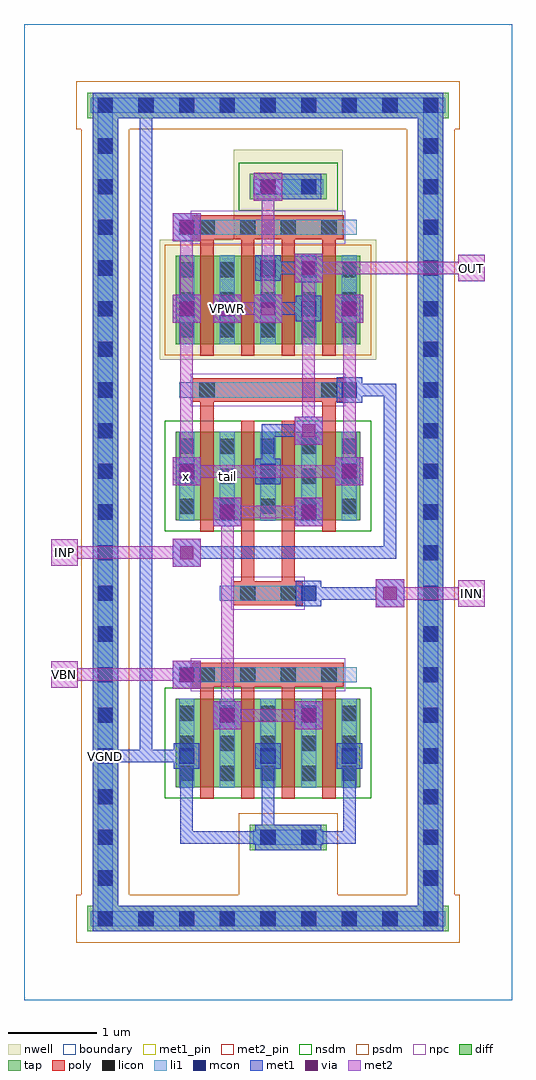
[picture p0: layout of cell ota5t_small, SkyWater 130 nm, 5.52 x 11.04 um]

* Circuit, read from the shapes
.subckt ota5t_small INN INP OUT VBN VGND VPWR tail x
XM1 tail VBN VGND VGND sky130_fd_pr__nfet_01v8 w=1 l=0.15 m=4
XM2 tail INP x VGND sky130_fd_pr__nfet_01v8 w=1 l=0.15 m=2
XM3 OUT INN tail VGND sky130_fd_pr__nfet_01v8 w=1 l=0.15 m=2
XM4 VPWR x x VPWR sky130_fd_pr__pfet_01v8 w=1 l=0.15 m=2
XM5 OUT x VPWR VPWR sky130_fd_pr__pfet_01v8 w=1 l=0.15 m=2
.ends

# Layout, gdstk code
import gdstk
lib = gdstk.Library(unit=1e-6, precision=1e-09)
def R(c, l, rs):  # rectangles x0, y0, x1, y1
    for r in rs: c.add(gdstk.rectangle(r[:2], r[2:], *l))
def A(c, l, x, y, w, h, nx, ny, dx, dy):  # array of equal rectangles
    R(c, l, [(x+i*dx, y+j*dy, x+i*dx+w, y+j*dy+h) for i in range(nx) for j in range(ny)])
nwell = (64, 20)
diff = (65, 20)
tap = (65, 44)
poly = (66, 20)
licon = (66, 44)
li1 = (67, 20)
mcon = (67, 44)
met1_pin = (68, 16)
met1 = (68, 20)
via = (68, 44)
met2_pin = (69, 16)
met2 = (69, 20)
nsdm = (93, 44)
psdm = (94, 20)
npc = (95, 20)
boundary = (235, 4)

ota5t_small = lib.new_cell('ota5t_small')
R(ota5t_small, nwell, [(1.535,7.24,3.985,8.6), (2.375,8.6,3.605,9.62)])
R(ota5t_small, diff, [(1.715,2.405,3.805,3.405), (1.715,5.425,3.805,6.425), (1.715,7.42,3.805,8.42)])
R(ota5t_small, tap, [(0.715,0.775,4.805,1.065), (0.775,0.775,1.065,10.265), (4.455,0.775,4.745,10.265), (2.555,1.695,3.425,1.985), (2.555,9.055,3.425,9.345), (0.715,9.975,4.805,10.265)])
A(ota5t_small, poly, 1.995, 2.275, 0.15, 1.405, 4, 1, 0.46, 0)
A(ota5t_small, poly, 1.995, 7.29, 0.15, 1.45, 4, 1, 0.46, 0)
R(ota5t_small, poly, [(1.905,3.545,3.615,3.815), (2.365,4.465,3.155,4.735), (2.455,4.6,2.605,6.555), (2.915,4.6,3.065,6.555), (1.995,5.295,2.145,6.9), (3.375,5.295,3.525,6.9), (1.905,6.765,3.615,7.035), (1.905,8.605,3.615,8.875)])
A(ota5t_small, licon, 0.835, 0.835, 0.17, 0.17, 9, 2, 0.46, 9.2)
A(ota5t_small, licon, 0.835, 1.295, 0.17, 0.17, 1, 19, 0, 0.46)
A(ota5t_small, licon, 4.515, 1.295, 0.17, 0.17, 1, 19, 0, 0.46)
A(ota5t_small, licon, 1.755, 2.48, 0.17, 0.17, 5, 3, 0.46, 0.34)
A(ota5t_small, licon, 1.985, 3.595, 0.17, 0.17, 4, 2, 0.46, 5.06)
A(ota5t_small, licon, 1.755, 5.5, 0.17, 0.17, 5, 3, 0.46, 0.34)
A(ota5t_small, licon, 1.755, 7.495, 0.17, 0.17, 5, 3, 0.46, 0.34)
R(ota5t_small, licon, [(2.675,1.755,2.845,1.925), (3.135,1.755,3.305,1.925), (2.445,4.515,2.615,4.685), (2.905,4.515,3.075,4.685), (1.985,6.815,2.155,6.985), (3.365,6.815,3.535,6.985), (2.675,9.115,2.845,9.285), (3.135,9.115,3.305,9.285)])
A(ota5t_small, li1, 1.755, 2.4, 0.17, 1.01, 5, 2, 0.46, 3.02)
A(ota5t_small, li1, 1.755, 7.415, 0.17, 1.01, 5, 1, 0.46, 0)
R(ota5t_small, li1, [(0.755,0.835,4.765,1.005), (0.835,0.835,1.005,10.205), (4.515,0.835,4.685,10.205), (2.595,1.755,3.385,1.925), (1.755,3.595,3.765,3.765), (2.215,4.515,3.305,4.685), (1.755,6.815,3.765,6.985), (1.755,8.655,3.765,8.825), (2.595,9.115,3.385,9.285), (0.755,10.035,4.765,10.205)])
A(ota5t_small, mcon, 0.835, 0.835, 0.17, 0.17, 9, 2, 0.46, 9.2)
A(ota5t_small, mcon, 0.835, 1.295, 0.17, 0.17, 1, 3, 0, 0.46)
A(ota5t_small, mcon, 4.515, 1.295, 0.17, 0.17, 1, 3, 0, 0.46)
A(ota5t_small, mcon, 3.135, 1.755, 0.17, 0.17, 1, 3, 0, 1.38)
A(ota5t_small, mcon, 0.835, 2.675, 0.17, 0.17, 5, 2, 0.92, 3.22)
A(ota5t_small, mcon, 0.835, 3.135, 0.17, 0.17, 1, 6, 0, 0.46)
A(ota5t_small, mcon, 2.215, 3.135, 0.17, 0.17, 1, 3, 0, 2.3)
A(ota5t_small, mcon, 4.515, 3.135, 0.17, 0.17, 1, 6, 0, 0.46)
A(ota5t_small, mcon, 0.835, 6.355, 0.17, 0.17, 1, 4, 0, 0.46)
A(ota5t_small, mcon, 4.515, 6.355, 0.17, 0.17, 1, 4, 0, 0.46)
A(ota5t_small, mcon, 0.835, 8.195, 0.17, 0.17, 3, 1, 1.84, 0)
A(ota5t_small, mcon, 0.835, 8.655, 0.17, 0.17, 1, 3, 0, 0.46)
A(ota5t_small, mcon, 4.515, 8.655, 0.17, 0.17, 1, 3, 0, 0.46)
R(ota5t_small, mcon, [(2.675,1.755,2.845,1.925), (1.755,3.595,1.925,3.765), (3.135,5.435,3.305,5.605), (3.595,6.815,3.765,6.985), (1.755,7.735,1.925,7.905), (3.135,7.735,3.305,7.905), (3.595,7.735,3.765,7.905), (1.755,8.655,1.925,8.825), (2.675,9.115,2.845,9.285), (3.135,9.115,3.305,9.285)])
R(ota5t_small, met1_pin, [(0.85,2.69,0.99,2.83), (2.155,7.675,2.445,7.965)])
A(ota5t_small, met1, 1.77, 1.77, 0.14, 1.06, 3, 1, 0.92, 0)
A(ota5t_small, met1, 1.695, 2.615, 0.29, 0.29, 3, 2, 0.92, 3.22)
A(ota5t_small, met1, 2.155, 3.075, 0.29, 0.29, 1, 3, 0, 2.3)
A(ota5t_small, met1, 1.68, 7.66, 0.32, 0.32, 3, 1, 0.46, 0)
R(ota5t_small, met1, [(0.775,0.775,4.745,1.065), (0.775,0.775,1.065,10.265), (4.455,0.775,4.745,10.265), (2.615,1.695,3.365,1.985), (1.77,1.77,2.83,1.91), (2.69,1.77,2.83,1.91), (2.69,1.77,3.75,1.91), (0.85,2.69,0.99,2.83), (0.85,2.69,1.91,2.83), (1.31,2.69,1.45,10.19), (2.14,3.06,2.46,3.38), (3.06,3.06,3.38,3.38), (3.075,3.075,3.365,3.365), (1.68,3.52,2,3.84), (1.695,3.535,1.985,3.825), (3.98,4.44,4.3,4.76), (3.075,4.455,3.365,4.745), (3.15,4.53,4.21,4.67), (1.68,4.9,2,5.22), (1.77,4.99,4.21,5.13), (4.07,4.99,4.21,6.97), (2.14,5.36,2.46,5.68), (3.06,5.36,3.38,5.68), (3.075,5.375,3.365,5.665), (1.68,5.82,2,6.14), (3.52,5.82,3.84,6.14), (2.69,5.91,2.83,6.51), (3.06,6.28,3.38,6.6), (2.69,6.37,3.29,6.51), (3.535,6.755,3.825,7.045), (3.61,6.83,4.21,6.97), (3.52,7.66,3.84,7.98), (1.695,7.675,1.985,7.965), (3.075,7.675,3.365,7.965), (3.535,7.675,3.825,7.965), (2.69,7.75,3.29,7.89), (3.06,8.12,3.38,8.44), (2.615,8.135,2.905,8.425), (2.69,8.21,3.29,8.35), (1.68,8.58,2,8.9), (1.695,8.595,1.985,8.885), (2.6,9.04,2.92,9.36), (2.615,9.055,3.365,9.345), (2.69,9.13,2.83,9.27), (0.775,9.975,4.745,10.265), (1.31,10.05,1.45,10.19)])
A(ota5t_small, via, 1.765, 7.745, 0.15, 0.15, 3, 1, 0.46, 0)
R(ota5t_small, via, [(2.225,3.145,2.375,3.295), (3.145,3.145,3.295,3.295), (1.765,3.605,1.915,3.755), (4.065,4.525,4.215,4.675), (1.765,4.985,1.915,5.135), (2.225,5.445,2.375,5.595), (3.145,5.445,3.295,5.595), (1.765,5.905,1.915,6.055), (3.605,5.905,3.755,6.055), (3.145,6.365,3.295,6.515), (3.605,7.745,3.755,7.895), (3.145,8.205,3.295,8.355), (1.765,8.665,1.915,8.815), (2.685,9.125,2.835,9.275)])
R(ota5t_small, met2_pin, [(0.31,3.53,0.61,3.83), (4.91,4.45,5.21,4.75), (0.31,4.91,0.61,5.21), (4.91,8.13,5.21,8.43)])
A(ota5t_small, met2, 1.68, 7.66, 0.32, 0.32, 3, 1, 0.46, 0)
R(ota5t_small, met2, [(2.14,3.06,2.46,3.38), (3.06,3.06,3.38,3.38), (2.23,3.15,3.29,3.29), (2.23,3.15,2.37,5.59), (1.68,3.52,2,3.84), (0.31,3.53,0.61,3.83), (0.39,3.61,0.53,3.75), (0.39,3.61,1.91,3.75), (3.98,4.44,4.3,4.76), (4.91,4.45,5.21,4.75), (4.07,4.53,5.13,4.67), (4.99,4.53,5.13,4.67), (1.68,4.9,2,5.22), (0.31,4.91,0.61,5.21), (0.39,4.99,0.53,5.13), (0.39,4.99,1.91,5.13), (2.14,5.36,2.46,5.68), (3.06,5.36,3.38,5.68), (2.23,5.45,3.29,5.59), (1.68,5.82,2,6.14), (3.52,5.82,3.84,6.14), (1.77,5.91,1.91,7.89), (1.77,5.91,3.75,6.05), (3.61,5.91,3.75,7.89), (3.06,6.28,3.38,6.6), (3.15,6.37,3.29,8.35), (3.52,7.66,3.84,7.98), (1.77,7.75,1.91,8.81), (2.23,7.75,2.83,7.89), (2.69,7.75,2.83,9.27), (3.06,8.12,3.38,8.44), (4.91,8.13,5.21,8.43), (3.15,8.21,5.13,8.35), (4.99,8.21,5.13,8.35), (1.68,8.58,2,8.9), (2.6,9.04,2.92,9.36)])
R(ota5t_small, nsdm, [(1.59,2.28,3.93,3.53), (1.59,5.3,3.93,6.55), (2.43,8.93,3.55,9.47)])
R(ota5t_small, psdm, [(0.59,0.65,4.93,1.19), (0.65,1.19,1.19,9.85), (2.43,1.19,3.55,2.11), (4.33,1.19,4.87,9.85), (1.59,7.295,3.93,8.545), (0.59,9.85,4.93,10.39)])
R(ota5t_small, npc, [(1.885,3.495,3.635,3.865), (2.345,4.415,3.175,4.785), (1.885,6.715,3.635,7.085), (1.885,8.555,3.635,8.925)])
R(ota5t_small, boundary, [(0,0,5.52,11.04)])
ota5t_small.add(gdstk.Label('x', (1.84,5.925), layer=67, texttype=5))
ota5t_small.add(gdstk.Label('tail', (2.3,5.925), layer=67, texttype=5))
ota5t_small.add(gdstk.Label('VPWR', (2.3,7.82), layer=68, texttype=5))
ota5t_small.add(gdstk.Label('VGND', (0.92,2.76), layer=68, texttype=5))
ota5t_small.add(gdstk.Label('INP', (0.46,5.06), layer=69, texttype=5))
ota5t_small.add(gdstk.Label('INN', (5.06,4.6), layer=69, texttype=5))
ota5t_small.add(gdstk.Label('VBN', (0.46,3.68), layer=69, texttype=5))
ota5t_small.add(gdstk.Label('OUT', (5.06,8.28), layer=69, texttype=5))
ota5t_small.add(gdstk.Label('VPWR', (2.3,7.82), layer=68, texttype=16))
ota5t_small.add(gdstk.Label('VGND', (0.92,2.76), layer=68, texttype=16))
ota5t_small.add(gdstk.Label('INP', (0.46,5.06), layer=69, texttype=16))
ota5t_small.add(gdstk.Label('INN', (5.06,4.6), layer=69, texttype=16))
ota5t_small.add(gdstk.Label('VBN', (0.46,3.68), layer=69, texttype=16))
ota5t_small.add(gdstk.Label('OUT', (5.06,8.28), layer=69, texttype=16))

lib.write_gds('ota5t_small.gds')
